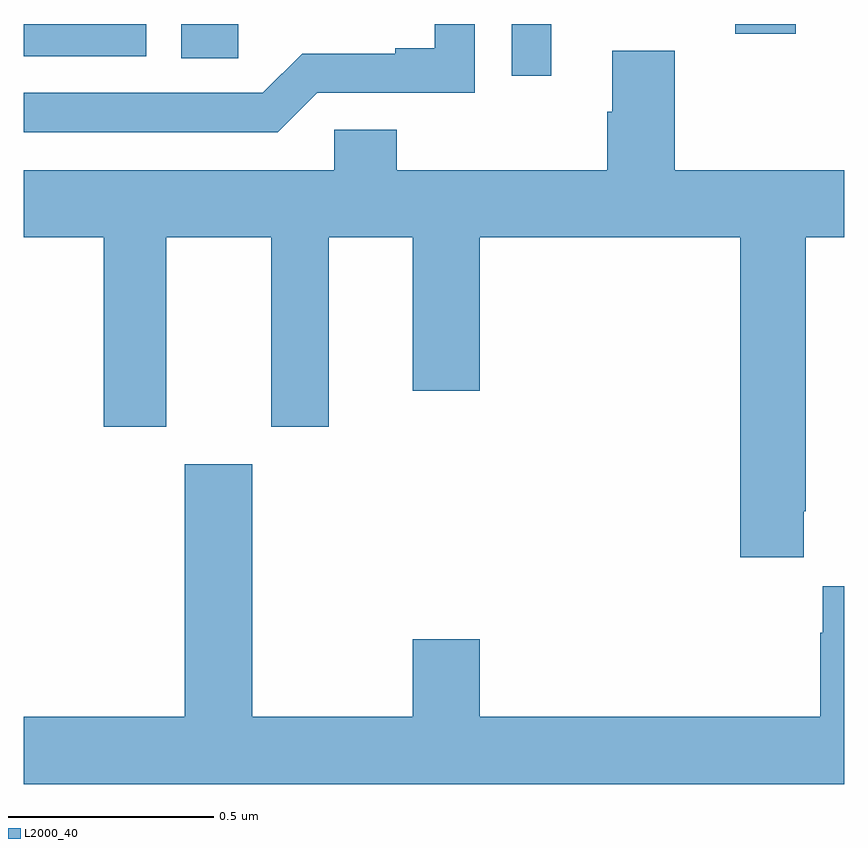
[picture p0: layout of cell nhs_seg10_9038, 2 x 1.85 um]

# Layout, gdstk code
import gdstk
lib = gdstk.Library(unit=1e-6, precision=1e-09)
def R(c, l, rs):  # rectangles x0, y0, x1, y1
    for r in rs: c.add(gdstk.rectangle(r[:2], r[2:], *l))
def P(c, l, *ps):  # polygons
    for p in ps: c.add(gdstk.Polygon(p, *l))
L2000_40 = (2000, 40)

nhs_seg10_9038 = lib.new_cell('nhs_seg10_9038')
R(nhs_seg10_9038, L2000_40, [(225.189,1303.374,225.286,1303.5), (224.384,1303.417,224.523,1303.5), (224,1303.421,224.299,1303.5), (225.734,1303.476,225.881,1303.5)])
P(nhs_seg10_9038, L2000_40, [(224.715,1303.332),(225.099,1303.332),(225.099,1303.5),(225.002,1303.5),(225.002,1303.441),(224.906,1303.441),(224.906,1303.428),(224.679,1303.428),(224.583,1303.332),(224,1303.332),(224,1303.236),(224.619,1303.236)],
  [(225.901,1302.313),(225.906,1302.313),(225.906,1302.98),(226,1302.98),(226,1303.144),(225.587,1303.144),(225.587,1303.435),(225.434,1303.435),(225.434,1303.286),(225.422,1303.286),(225.422,1303.144),(224.909,1303.144),(224.909,1303.242),(224.757,1303.242),(224.757,1303.144),(224,1303.144),(224,1302.98),(224.195,1302.98),(224.195,1302.519),(224.347,1302.519),(224.347,1302.98),(224.603,1302.98),(224.603,1302.519),(224.743,1302.519),(224.743,1302.98),(224.948,1302.98),(224.948,1302.606),(225.112,1302.606),(225.112,1302.98),(225.746,1302.98),(225.746,1302.201),(225.901,1302.201)],
  [(226,1302.13),(225.947,1302.13),(225.947,1302.017),(225.941,1302.017),(225.941,1301.812),(225.112,1301.812),(225.112,1302.001),(224.948,1302.001),(224.948,1301.812),(224.557,1301.812),(224.557,1302.427),(224.393,1302.427),(224.393,1301.812),(224,1301.812),(224,1301.648),(226,1301.648)])

lib.write_gds('nhs_seg10_9038.gds')
